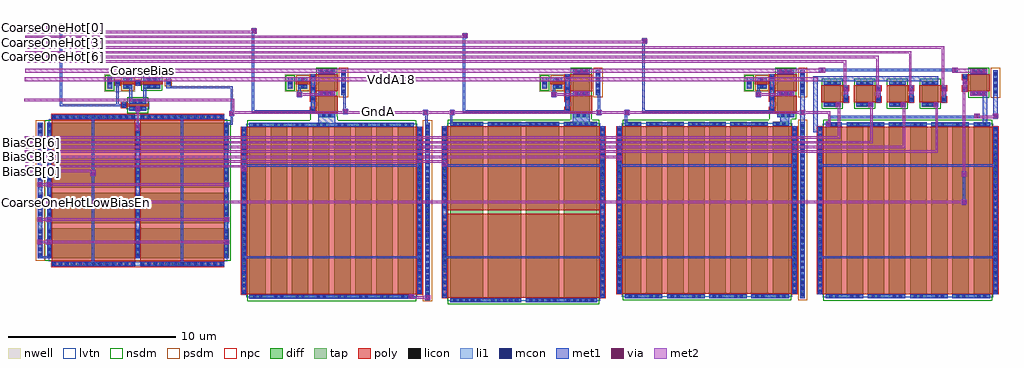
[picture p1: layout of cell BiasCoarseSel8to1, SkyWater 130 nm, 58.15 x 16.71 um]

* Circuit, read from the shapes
.subckt BiasCoarseSel8to1 BiasCB[0] BiasCB[1] BiasCB[2] BiasCB[3] BiasCB[4] BiasCB[5] BiasCB[6] BiasCB[7] CoarseBias CoarseOneHotLowBiasEn CoarseOneHot[0] CoarseOneHot[1] CoarseOneHot[2] CoarseOneHot[3] CoarseOneHot[4] CoarseOneHot[5] CoarseOneHot[6] CoarseOneHot[7] GndA VddA18
XM1 n1 BiasCB[0] GndA GndA sky130_fd_pr__nfet_01v8_lvt w=1.8 l=5 m=8
XM2 n2 CoarseOneHot[0] n1 GndA sky130_fd_pr__nfet_01v8_lvt w=1 l=0.15
XM3 CoarseBias CoarseOneHot[0] n2 GndA sky130_fd_pr__nfet_01v8 w=1 l=0.15
XM4 n3 BiasCB[1] GndA GndA sky130_fd_pr__nfet_01v8_lvt w=0.98 l=9.98 m=8
XM5 n4 CoarseOneHot[1] n3 GndA sky130_fd_pr__nfet_01v8 w=1 l=1
XM6 CoarseBias CoarseOneHot[1] n4 GndA sky130_fd_pr__nfet_01v8 w=1 l=1
XM7 n5 BiasCB[2] n6 GndA sky130_fd_pr__nfet_01v8_lvt w=1.98 l=5
XM8 GndA BiasCB[2] n5 GndA sky130_fd_pr__nfet_01v8_lvt w=1.98 l=5
XM9 n7 BiasCB[2] n6 GndA sky130_fd_pr__nfet_01v8_lvt w=1.98 l=5
XM10 n8 BiasCB[2] n7 GndA sky130_fd_pr__nfet_01v8_lvt w=1.98 l=5
XM11 n9 BiasCB[2] n10 GndA sky130_fd_pr__nfet_01v8_lvt w=1.98 l=5
XM12 n8 BiasCB[2] n9 GndA sky130_fd_pr__nfet_01v8_lvt w=1.98 l=5
XM13 n11 BiasCB[2] n10 GndA sky130_fd_pr__nfet_01v8_lvt w=1.98 l=5
XM14 n12 BiasCB[2] n11 GndA sky130_fd_pr__nfet_01v8_lvt w=1.98 l=5
XM15 n13 CoarseOneHot[2] n12 GndA sky130_fd_pr__nfet_01v8 w=1 l=1
XM16 CoarseBias CoarseOneHot[2] n13 GndA sky130_fd_pr__nfet_01v8 w=1 l=1
XM17 GndA BiasCB[3] n14 GndA sky130_fd_pr__nfet_01v8_lvt w=0.98 l=9.98
XM18 n15 BiasCB[3] n14 GndA sky130_fd_pr__nfet_01v8_lvt w=0.98 l=9.98
XM19 n15 BiasCB[3] n16 GndA sky130_fd_pr__nfet_01v8_lvt w=0.98 l=9.98
XM20 n17 BiasCB[3] n16 GndA sky130_fd_pr__nfet_01v8_lvt w=0.98 l=9.98
XM21 n17 BiasCB[3] n18 GndA sky130_fd_pr__nfet_01v8_lvt w=0.98 l=9.98
XM22 n19 BiasCB[3] n18 GndA sky130_fd_pr__nfet_01v8_lvt w=0.98 l=9.98
XM23 n19 BiasCB[3] n20 GndA sky130_fd_pr__nfet_01v8_lvt w=0.98 l=9.98
XM24 n21 BiasCB[3] n20 GndA sky130_fd_pr__nfet_01v8_lvt w=0.98 l=9.98
XM25 n22 CoarseOneHot[3] n21 GndA sky130_fd_pr__nfet_01v8 w=1 l=1
XM26 CoarseBias CoarseOneHot[3] n22 GndA sky130_fd_pr__nfet_01v8 w=1 l=1
XM27 n23 CoarseOneHot[7] BiasCB[7] GndA sky130_fd_pr__nfet_01v8 w=1 l=1
XM28 GndA n23 n24 GndA sky130_fd_pr__nfet_01v8_lvt w=0.98 l=9.98
XM29 n25 n23 n24 GndA sky130_fd_pr__nfet_01v8_lvt w=0.98 l=9.98
XM30 n23 CoarseOneHot[6] BiasCB[6] GndA sky130_fd_pr__nfet_01v8 w=1 l=1
XM31 n25 n23 n26 GndA sky130_fd_pr__nfet_01v8_lvt w=0.98 l=9.98
XM32 n27 n23 n26 GndA sky130_fd_pr__nfet_01v8_lvt w=0.98 l=9.98
XM33 n23 CoarseOneHot[5] BiasCB[5] GndA sky130_fd_pr__nfet_01v8 w=1 l=1
XM34 n27 n23 n28 GndA sky130_fd_pr__nfet_01v8_lvt w=0.98 l=9.98
XM35 n23 CoarseOneHot[4] BiasCB[4] GndA sky130_fd_pr__nfet_01v8 w=1 l=1
XM36 n29 n23 n28 GndA sky130_fd_pr__nfet_01v8_lvt w=0.98 l=9.98
XM37 n29 n23 n30 GndA sky130_fd_pr__nfet_01v8_lvt w=0.98 l=9.98
XM38 CoarseBias CoarseOneHotLowBiasEn n31 GndA sky130_fd_pr__nfet_01v8 w=1 l=1
XM39 n31 n23 n30 GndA sky130_fd_pr__nfet_01v8_lvt w=0.98 l=9.98
XM40 VddA18 CoarseOneHot[0] n2 VddA18 sky130_fd_pr__pfet_01v8 w=0.55 l=0.15
XM41 VddA18 CoarseOneHot[1] n4 VddA18 sky130_fd_pr__pfet_01v8 w=0.55 l=0.15
XM42 VddA18 CoarseOneHot[2] n13 VddA18 sky130_fd_pr__pfet_01v8 w=0.55 l=0.15
XM43 VddA18 CoarseOneHot[3] n22 VddA18 sky130_fd_pr__pfet_01v8 w=0.55 l=0.15
.ends

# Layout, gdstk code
import gdstk
lib = gdstk.Library(unit=1e-6, precision=1e-09)
def R(c, l, rs):  # rectangles x0, y0, x1, y1
    for r in rs: c.add(gdstk.rectangle(r[:2], r[2:], *l))
def A(c, l, x, y, w, h, nx, ny, dx, dy):  # array of equal rectangles
    R(c, l, [(x+i*dx, y+j*dy, x+i*dx+w, y+j*dy+h) for i in range(nx) for j in range(ny)])
nwell = (64, 20)
diff = (65, 20)
tap = (65, 44)
poly = (66, 20)
licon = (66, 44)
li1 = (67, 20)
mcon = (67, 44)
met1 = (68, 20)
via = (68, 44)
met2 = (69, 20)
nsdm = (93, 44)
psdm = (94, 20)
npc = (95, 20)
lvtn = (125, 44)

biascoarsesel8to1 = lib.new_cell('BiasCoarseSel8to1')
R(biascoarsesel8to1, nwell, [(4.005,12.02,5.855,13.06), (14.75,12.02,16.29,13.06), (29.915,12.02,31.455,13.06), (42.1,12.02,43.64,13.06)])
A(biascoarsesel8to1, diff, 24.605, -0.525, 1.98, 10.74, 4, 1, 2.26, 0)
A(biascoarsesel8to1, diff, 12.655, -0.33, 0.98, 10.51, 8, 1, 1.26, 0)
A(biascoarsesel8to1, diff, 46.975, -0.305, 0.98, 10.51, 8, 1, 1.26, 0)
A(biascoarsesel8to1, diff, 35.02, -0.295, 0.98, 10.51, 4, 1, 1.26, 0)
A(biascoarsesel8to1, diff, 40.04, -0.295, 0.98, 10.51, 4, 1, 1.26, 0)
A(biascoarsesel8to1, diff, 0.595, 2.08, 10.81, 1.8, 1, 4, 0, 2.1)
A(biascoarsesel8to1, diff, 46.87, 11.125, 1, 1.53, 4, 1, 1.945, 0)
R(biascoarsesel8to1, diff, [(16.76,10.495,17.76,13.305), (31.925,10.495,32.925,13.305), (44.11,10.495,45.11,13.305), (5.5,10.87,6.5,11.55), (55.605,11.775,56.605,13.305), (5.125,12.2,5.675,12.88), (6.325,12.2,7.325,12.88), (15.56,12.2,16.11,12.88), (30.725,12.2,31.275,12.88), (42.91,12.2,43.46,12.88)])
A(biascoarsesel8to1, tap, 0.035, 2.08, 0.29, 1.8, 1, 4, 0, 2.1)
R(biascoarsesel8to1, tap, [(23.115,-0.33,23.405,10.18), (45.46,-0.295,45.75,10.215), (56.955,11.775,57.245,13.305), (18.11,11.815,18.4,13.305), (33.275,11.815,33.565,13.305), (45.46,11.815,45.75,13.305), (4.185,12.2,4.475,12.88), (14.93,12.2,15.22,12.88), (30.095,12.2,30.385,12.88), (42.28,12.2,42.57,12.88), (7.735,12.455,7.905,12.625)])
A(biascoarsesel8to1, poly, 46.72, 11.39, 1.61, 1, 4, 1, 1.945, 0)
R(biascoarsesel8to1, poly, [(24.145,-0.26,33.825,4.74), (12.195,-0.065,22.915,9.915), (46.515,-0.04,57.235,9.94), (34.56,-0.03,45.26,9.95), (0.86,1.62,5.86,10.64), (6.14,1.62,11.14,10.64), (24.145,4.95,33.825,9.95), (16.3,10.76,17.91,11.76), (31.465,10.76,33.075,11.76), (43.65,10.76,45.26,11.76), (5.04,11.045,5.31,11.135), (5.04,11.135,6.65,11.285), (5.04,11.285,5.31,11.375), (16.3,12.04,17.91,12.465), (31.465,12.04,33.075,12.465), (43.65,12.04,45.26,12.465), (55.145,12.04,56.755,13.04), (4.665,12.375,4.935,12.465), (5.865,12.375,6.135,12.465), (4.665,12.465,7.475,12.615), (15.41,12.465,17.91,12.615), (30.575,12.465,33.075,12.615), (42.76,12.465,45.26,12.615), (4.665,12.615,4.935,12.705), (5.865,12.615,6.135,12.705), (16.3,12.615,17.91,13.04), (31.465,12.615,33.075,13.04), (43.65,12.615,45.26,13.04)])
A(biascoarsesel8to1, licon, 24.83, -0.485, 0.17, 0.17, 5, 2, 0.34, 10.49)
A(biascoarsesel8to1, licon, 27.09, -0.485, 0.17, 0.17, 5, 2, 0.34, 10.49)
A(biascoarsesel8to1, licon, 29.35, -0.485, 0.17, 0.17, 5, 2, 0.34, 10.49)
A(biascoarsesel8to1, licon, 31.61, -0.485, 0.17, 0.17, 5, 2, 0.34, 10.49)
A(biascoarsesel8to1, licon, 24.195, -0.18, 0.17, 0.17, 1, 3, 0, 0.355)
A(biascoarsesel8to1, licon, 33.605, -0.18, 0.17, 0.17, 1, 12, 0, 0.36)
A(biascoarsesel8to1, licon, 23.175, -0.09, 0.17, 0.17, 1, 30, 0, 0.34)
A(biascoarsesel8to1, licon, 45.52, -0.055, 0.17, 0.17, 1, 30, 0, 0.34)
A(biascoarsesel8to1, licon, 12.245, 0.015, 0.17, 0.17, 1, 27, 0, 0.345)
A(biascoarsesel8to1, licon, 22.695, 0.015, 0.17, 0.17, 1, 27, 0, 0.345)
A(biascoarsesel8to1, licon, 46.565, 0.04, 0.17, 0.17, 1, 3, 0, 0.34)
A(biascoarsesel8to1, licon, 57.015, 0.04, 0.17, 0.17, 1, 27, 0, 0.345)
A(biascoarsesel8to1, licon, 34.61, 0.05, 0.17, 0.17, 1, 3, 0, 0.34)
A(biascoarsesel8to1, licon, 45.04, 0.05, 0.17, 0.17, 1, 27, 0, 0.345)
A(biascoarsesel8to1, licon, 24.195, 0.89, 0.17, 0.17, 1, 11, 0, 0.36)
A(biascoarsesel8to1, licon, 46.565, 1.065, 0.17, 0.17, 1, 26, 0, 0.345)
A(biascoarsesel8to1, licon, 34.61, 1.075, 0.17, 0.17, 1, 26, 0, 0.345)
A(biascoarsesel8to1, licon, 0.94, 1.67, 0.17, 0.17, 12, 2, 0.36, 8.75)
A(biascoarsesel8to1, licon, 6.22, 1.67, 0.17, 0.17, 3, 2, 0.355, 8.75)
A(biascoarsesel8to1, licon, 7.29, 1.67, 0.17, 0.17, 11, 2, 0.36, 8.75)
A(biascoarsesel8to1, licon, 0.095, 2.215, 0.17, 0.17, 1, 5, 0, 0.34)
A(biascoarsesel8to1, licon, 0.635, 2.215, 0.17, 0.17, 3, 5, 5.28, 0.34)
A(biascoarsesel8to1, licon, 0.095, 4.315, 0.17, 0.17, 1, 5, 0, 0.34)
A(biascoarsesel8to1, licon, 0.635, 4.315, 0.17, 0.17, 3, 5, 5.28, 0.34)
A(biascoarsesel8to1, licon, 24.195, 5.03, 0.17, 0.17, 1, 3, 0, 0.355)
A(biascoarsesel8to1, licon, 33.605, 5.03, 0.17, 0.17, 1, 12, 0, 0.36)
A(biascoarsesel8to1, licon, 24.195, 6.1, 0.17, 0.17, 1, 11, 0, 0.36)
A(biascoarsesel8to1, licon, 0.095, 6.415, 0.17, 0.17, 1, 5, 0, 0.34)
A(biascoarsesel8to1, licon, 0.635, 6.415, 0.17, 0.17, 3, 5, 5.28, 0.34)
A(biascoarsesel8to1, licon, 0.095, 8.515, 0.17, 0.17, 1, 5, 0, 0.34)
A(biascoarsesel8to1, licon, 0.635, 8.515, 0.17, 0.17, 3, 5, 5.28, 0.34)
A(biascoarsesel8to1, licon, 17.005, 10.535, 0.17, 0.17, 1, 3, 0, 1.28)
A(biascoarsesel8to1, licon, 17.345, 10.535, 0.17, 0.17, 1, 3, 0, 1.28)
A(biascoarsesel8to1, licon, 32.17, 10.535, 0.17, 0.17, 1, 3, 0, 1.28)
A(biascoarsesel8to1, licon, 32.51, 10.535, 0.17, 0.17, 1, 3, 0, 1.28)
A(biascoarsesel8to1, licon, 44.355, 10.535, 0.17, 0.17, 1, 3, 0, 1.28)
A(biascoarsesel8to1, licon, 44.695, 10.535, 0.17, 0.17, 1, 3, 0, 1.28)
A(biascoarsesel8to1, licon, 48.11, 11.47, 0.17, 0.17, 4, 2, 1.945, 0.67)
A(biascoarsesel8to1, licon, 57.015, 11.945, 0.17, 0.17, 1, 4, 0, 0.34)
A(biascoarsesel8to1, licon, 18.17, 11.965, 0.17, 0.17, 1, 4, 0, 0.34)
A(biascoarsesel8to1, licon, 33.335, 11.965, 0.17, 0.17, 1, 4, 0, 0.34)
A(biascoarsesel8to1, licon, 45.52, 11.965, 0.17, 0.17, 1, 4, 0, 0.34)
R(biascoarsesel8to1, licon, [(12.89,-0.29,13.06,-0.12), (13.23,-0.29,13.4,-0.12), (14.15,-0.29,14.32,-0.12), (14.49,-0.29,14.66,-0.12), (15.41,-0.29,15.58,-0.12), (15.75,-0.29,15.92,-0.12), (16.67,-0.29,16.84,-0.12), (17.01,-0.29,17.18,-0.12), (17.93,-0.29,18.1,-0.12), (18.27,-0.29,18.44,-0.12), (19.19,-0.29,19.36,-0.12), (19.53,-0.29,19.7,-0.12), (20.45,-0.29,20.62,-0.12), (20.79,-0.29,20.96,-0.12), (21.71,-0.29,21.88,-0.12), (22.05,-0.29,22.22,-0.12), (47.21,-0.265,47.38,-0.095), (47.55,-0.265,47.72,-0.095), (48.47,-0.265,48.64,-0.095), (48.81,-0.265,48.98,-0.095), (49.73,-0.265,49.9,-0.095), (50.07,-0.265,50.24,-0.095), (50.99,-0.265,51.16,-0.095), (51.33,-0.265,51.5,-0.095), (52.25,-0.265,52.42,-0.095), (52.59,-0.265,52.76,-0.095), (53.51,-0.265,53.68,-0.095), (53.85,-0.265,54.02,-0.095), (54.77,-0.265,54.94,-0.095), (55.11,-0.265,55.28,-0.095), (56.03,-0.265,56.2,-0.095), (56.37,-0.265,56.54,-0.095), (35.255,-0.255,35.425,-0.085), (35.595,-0.255,35.765,-0.085), (36.515,-0.255,36.685,-0.085), (36.855,-0.255,37.025,-0.085), (37.775,-0.255,37.945,-0.085), (38.115,-0.255,38.285,-0.085), (39.035,-0.255,39.205,-0.085), (39.375,-0.255,39.545,-0.085), (40.275,-0.255,40.445,-0.085), (40.615,-0.255,40.785,-0.085), (41.535,-0.255,41.705,-0.085), (41.875,-0.255,42.045,-0.085), (42.795,-0.255,42.965,-0.085), (43.135,-0.255,43.305,-0.085), (44.055,-0.255,44.225,-0.085), (44.395,-0.255,44.565,-0.085), (5.255,1.67,5.425,1.84), (5.61,1.67,5.78,1.84), (33.605,4.135,33.775,4.305), (33.605,4.49,33.775,4.66), (12.245,9.325,12.415,9.495), (22.695,9.325,22.865,9.495), (33.605,9.345,33.775,9.515), (57.015,9.35,57.185,9.52), (45.04,9.36,45.21,9.53), (12.245,9.665,12.415,9.835), (22.695,9.665,22.865,9.835), (57.015,9.69,57.185,9.86), (33.605,9.7,33.775,9.87), (45.04,9.7,45.21,9.87), (12.89,9.97,13.06,10.14), (13.23,9.97,13.4,10.14), (14.15,9.97,14.32,10.14), (14.49,9.97,14.66,10.14), (15.41,9.97,15.58,10.14), (15.75,9.97,15.92,10.14), (16.67,9.97,16.84,10.14), (17.01,9.97,17.18,10.14), (17.93,9.97,18.1,10.14), (18.27,9.97,18.44,10.14), (19.19,9.97,19.36,10.14), (19.53,9.97,19.7,10.14), (20.45,9.97,20.62,10.14), (20.79,9.97,20.96,10.14), (21.71,9.97,21.88,10.14), (22.05,9.97,22.22,10.14), (47.21,9.995,47.38,10.165), (47.55,9.995,47.72,10.165), (48.47,9.995,48.64,10.165), (48.81,9.995,48.98,10.165), (49.73,9.995,49.9,10.165), (50.07,9.995,50.24,10.165), (50.99,9.995,51.16,10.165), (51.33,9.995,51.5,10.165), (52.25,9.995,52.42,10.165), (52.59,9.995,52.76,10.165), (53.51,9.995,53.68,10.165), (53.85,9.995,54.02,10.165), (54.77,9.995,54.94,10.165), (55.11,9.995,55.28,10.165), (56.03,9.995,56.2,10.165), (56.37,9.995,56.54,10.165), (35.255,10.005,35.425,10.175), (35.595,10.005,35.765,10.175), (36.515,10.005,36.685,10.175), (36.855,10.005,37.025,10.175), (37.775,10.005,37.945,10.175), (38.115,10.005,38.285,10.175), (39.035,10.005,39.205,10.175), (39.375,10.005,39.545,10.175), (40.275,10.005,40.445,10.175), (40.615,10.005,40.785,10.175), (41.535,10.005,41.705,10.175), (41.875,10.005,42.045,10.175), (42.795,10.005,42.965,10.175), (43.135,10.005,43.305,10.175), (44.055,10.005,44.225,10.175), (44.395,10.005,44.565,10.175), (5.255,10.42,5.425,10.59), (5.61,10.42,5.78,10.59), (16.35,10.84,16.52,11.01), (31.515,10.84,31.685,11.01), (43.7,10.84,43.87,11.01), (5.745,10.91,5.915,11.08), (6.085,10.91,6.255,11.08), (5.09,11.125,5.26,11.295), (47.115,11.165,47.285,11.335), (47.455,11.165,47.625,11.335), (49.06,11.165,49.23,11.335), (49.4,11.165,49.57,11.335), (51.005,11.165,51.175,11.335), (51.345,11.165,51.515,11.335), (52.95,11.165,53.12,11.335), (53.29,11.165,53.46,11.335), (5.745,11.34,5.915,11.51), (6.085,11.34,6.255,11.51), (16.35,11.51,16.52,11.68), (31.515,11.51,31.685,11.68), (43.7,11.51,43.87,11.68), (55.85,11.815,56.02,11.985), (56.19,11.815,56.36,11.985), (16.35,12.12,16.52,12.29), (31.515,12.12,31.685,12.29), (43.7,12.12,43.87,12.29), (55.195,12.12,55.365,12.29), (5.315,12.24,5.485,12.41), (6.57,12.24,6.74,12.41), (6.91,12.24,7.08,12.41), (15.75,12.24,15.92,12.41), (30.915,12.24,31.085,12.41), (43.1,12.24,43.27,12.41), (47.115,12.445,47.285,12.615), (47.455,12.445,47.625,12.615), (49.06,12.445,49.23,12.615), (49.4,12.445,49.57,12.615), (51.005,12.445,51.175,12.615), (51.345,12.445,51.515,12.615), (52.95,12.445,53.12,12.615), (53.29,12.445,53.46,12.615), (4.245,12.455,4.415,12.625), (4.715,12.455,4.885,12.625), (5.915,12.455,6.085,12.625), (7.735,12.455,7.905,12.625), (14.99,12.455,15.16,12.625), (30.155,12.455,30.325,12.625), (42.34,12.455,42.51,12.625), (5.315,12.67,5.485,12.84), (6.57,12.67,6.74,12.84), (6.91,12.67,7.08,12.84), (15.75,12.67,15.92,12.84), (30.915,12.67,31.085,12.84), (43.1,12.67,43.27,12.84), (16.35,12.79,16.52,12.96), (31.515,12.79,31.685,12.96), (43.7,12.79,43.87,12.96), (55.195,12.79,55.365,12.96), (55.85,13.095,56.02,13.265), (56.19,13.095,56.36,13.265)])
A(biascoarsesel8to1, li1, 46.975, -0.265, 2.24, 0.17, 4, 1, 2.52, 0)
A(biascoarsesel8to1, li1, 5.915, 2.08, 0.17, 1.8, 1, 4, 0, 2.1)
A(biascoarsesel8to1, li1, 48.235, 9.995, 2.24, 0.17, 3, 1, 2.52, 0)
A(biascoarsesel8to1, li1, 16.76, 10.535, 1, 0.17, 1, 3, 0, 1.28)
A(biascoarsesel8to1, li1, 44.11, 10.535, 1, 0.17, 1, 3, 0, 1.28)
A(biascoarsesel8to1, li1, 46.87, 11.165, 1, 0.17, 4, 2, 1.945, 1.28)
A(biascoarsesel8to1, li1, 48.08, 11.39, 0.23, 1, 4, 1, 1.945, 0)
R(biascoarsesel8to1, li1, [(24.605,-0.485,28.845,-0.315), (29.125,-0.485,33.365,-0.315), (23.125,-0.32,23.395,10.17), (12.655,-0.29,22.455,-0.12), (45.47,-0.285,45.74,10.205), (24.165,-0.26,24.395,9.95), (33.575,-0.26,33.805,9.95), (35.02,-0.255,37.26,-0.085), (37.54,-0.255,39.78,-0.085), (40.04,-0.255,42.28,-0.085), (42.56,-0.255,44.8,-0.085), (12.215,-0.065,12.445,9.915), (22.665,-0.065,22.895,9.915), (46.535,-0.04,46.765,9.94), (56.985,-0.04,57.215,9.94), (34.58,-0.03,34.81,9.95), (45.01,-0.03,45.24,9.95), (0.86,1.64,11.14,1.87), (0.045,2.08,0.315,10.18), (0.635,2.08,0.805,10.18), (11.195,2.08,11.365,10.18), (12.655,9.97,22.455,10.14), (46.975,9.995,47.955,10.165), (55.795,9.995,56.775,10.165), (24.605,10.005,26.585,10.175), (26.865,10.005,31.105,10.175), (31.385,10.005,33.365,10.175), (35.02,10.005,36,10.175), (36.28,10.005,38.52,10.175), (38.8,10.005,41.02,10.175), (41.3,10.005,43.54,10.175), (43.82,10.005,44.8,10.175), (31.925,10.175,32.925,10.705), (44.275,10.175,44.8,10.535), (0.86,10.39,11.14,10.62), (16.32,10.76,16.55,13.04), (31.485,10.76,31.715,13.04), (43.67,10.76,43.9,13.04), (5.5,10.91,6.5,11.08), (5.06,11.045,5.29,11.375), (5.5,11.34,6.5,11.51), (56.965,11.785,57.235,13.295), (31.925,11.815,32.925,11.985), (55.605,11.815,56.605,11.985), (18.12,11.825,18.39,13.295), (33.285,11.825,33.555,13.295), (45.47,11.825,45.74,13.295), (55.165,12.04,55.395,13.04), (4.195,12.21,4.465,12.87), (7.685,12.21,7.955,12.87), (14.94,12.21,15.21,12.87), (30.105,12.21,30.375,12.87), (42.29,12.21,42.56,12.87), (5.125,12.24,5.675,12.41), (6.325,12.24,7.325,12.41), (15.56,12.24,16.11,12.41), (30.725,12.24,31.275,12.41), (42.91,12.24,43.46,12.41), (4.685,12.375,4.915,12.705), (5.885,12.375,6.115,12.705), (5.125,12.67,5.675,12.84), (6.325,12.67,7.325,12.84), (15.56,12.67,16.11,12.84), (30.725,12.67,31.275,12.84), (42.91,12.67,43.46,12.84), (31.925,13.095,32.925,13.265), (55.605,13.095,56.605,13.265)])
A(biascoarsesel8to1, mcon, 24.79, -0.485, 0.17, 0.17, 5, 2, 0.36, 10.49)
A(biascoarsesel8to1, mcon, 27.05, -0.485, 0.17, 0.17, 5, 2, 0.36, 10.49)
A(biascoarsesel8to1, mcon, 29.31, -0.485, 0.17, 0.17, 5, 2, 0.36, 10.49)
A(biascoarsesel8to1, mcon, 31.57, -0.485, 0.17, 0.17, 5, 2, 0.36, 10.49)
A(biascoarsesel8to1, mcon, 23.175, -0.2, 0.17, 0.17, 1, 29, 0, 0.36)
A(biascoarsesel8to1, mcon, 24.195, -0.18, 0.17, 0.17, 1, 3, 0, 0.385)
A(biascoarsesel8to1, mcon, 33.605, -0.18, 0.17, 0.17, 1, 11, 0, 0.39)
A(biascoarsesel8to1, mcon, 45.52, -0.165, 0.17, 0.17, 1, 29, 0, 0.36)
A(biascoarsesel8to1, mcon, 12.245, 0.015, 0.17, 0.17, 1, 7, 0, 0.375)
A(biascoarsesel8to1, mcon, 22.695, 0.015, 0.17, 0.17, 1, 7, 0, 0.375)
A(biascoarsesel8to1, mcon, 46.565, 0.04, 0.17, 0.17, 1, 21, 0, 0.37)
A(biascoarsesel8to1, mcon, 57.015, 0.04, 0.17, 0.17, 1, 7, 0, 0.375)
A(biascoarsesel8to1, mcon, 34.61, 0.05, 0.17, 0.17, 1, 21, 0, 0.37)
A(biascoarsesel8to1, mcon, 45.04, 0.05, 0.17, 0.17, 1, 7, 0, 0.375)
A(biascoarsesel8to1, mcon, 24.195, 0.98, 0.17, 0.17, 1, 10, 0, 0.39)
A(biascoarsesel8to1, mcon, 0.94, 1.67, 0.17, 0.17, 11, 2, 0.39, 8.75)
A(biascoarsesel8to1, mcon, 6.22, 1.67, 0.17, 0.17, 3, 2, 0.385, 8.75)
A(biascoarsesel8to1, mcon, 7.38, 1.67, 0.17, 0.17, 10, 2, 0.39, 8.75)
A(biascoarsesel8to1, mcon, 0.095, 2.175, 0.17, 0.17, 1, 5, 0, 0.36)
A(biascoarsesel8to1, mcon, 0.635, 2.175, 0.17, 0.17, 3, 5, 5.28, 0.36)
A(biascoarsesel8to1, mcon, 12.245, 2.635, 0.17, 0.17, 1, 20, 0, 0.37)
A(biascoarsesel8to1, mcon, 22.695, 2.635, 0.17, 0.17, 1, 20, 0, 0.37)
A(biascoarsesel8to1, mcon, 57.015, 2.66, 0.17, 0.17, 1, 20, 0, 0.37)
A(biascoarsesel8to1, mcon, 45.04, 2.67, 0.17, 0.17, 1, 20, 0, 0.37)
A(biascoarsesel8to1, mcon, 0.095, 4.275, 0.17, 0.17, 1, 5, 0, 0.36)
A(biascoarsesel8to1, mcon, 0.635, 4.275, 0.17, 0.17, 3, 5, 5.28, 0.36)
A(biascoarsesel8to1, mcon, 24.195, 5.03, 0.17, 0.17, 1, 3, 0, 0.385)
A(biascoarsesel8to1, mcon, 33.605, 5.03, 0.17, 0.17, 1, 11, 0, 0.39)
A(biascoarsesel8to1, mcon, 24.195, 6.19, 0.17, 0.17, 1, 10, 0, 0.39)
A(biascoarsesel8to1, mcon, 0.095, 6.375, 0.17, 0.17, 1, 5, 0, 0.36)
A(biascoarsesel8to1, mcon, 0.635, 6.375, 0.17, 0.17, 3, 5, 5.28, 0.36)
A(biascoarsesel8to1, mcon, 46.565, 7.815, 0.17, 0.17, 1, 6, 0, 0.375)
A(biascoarsesel8to1, mcon, 34.61, 7.825, 0.17, 0.17, 1, 6, 0, 0.375)
A(biascoarsesel8to1, mcon, 0.095, 8.475, 0.17, 0.17, 1, 5, 0, 0.36)
A(biascoarsesel8to1, mcon, 0.635, 8.475, 0.17, 0.17, 3, 5, 5.28, 0.36)
A(biascoarsesel8to1, mcon, 16.995, 10.535, 0.17, 0.17, 1, 3, 0, 1.28)
A(biascoarsesel8to1, mcon, 17.355, 10.535, 0.17, 0.17, 1, 3, 0, 1.28)
A(biascoarsesel8to1, mcon, 32.16, 10.535, 0.17, 0.17, 1, 3, 0, 1.28)
A(biascoarsesel8to1, mcon, 32.52, 10.535, 0.17, 0.17, 1, 3, 0, 1.28)
A(biascoarsesel8to1, mcon, 44.345, 10.535, 0.17, 0.17, 1, 3, 0, 1.28)
A(biascoarsesel8to1, mcon, 44.705, 10.535, 0.17, 0.17, 1, 3, 0, 1.28)
A(biascoarsesel8to1, mcon, 48.11, 11.47, 0.17, 0.17, 4, 2, 1.945, 0.67)
A(biascoarsesel8to1, mcon, 57.015, 11.915, 0.17, 0.17, 1, 4, 0, 0.36)
A(biascoarsesel8to1, mcon, 18.17, 11.935, 0.17, 0.17, 1, 4, 0, 0.36)
A(biascoarsesel8to1, mcon, 33.335, 11.935, 0.17, 0.17, 1, 4, 0, 0.36)
A(biascoarsesel8to1, mcon, 45.52, 11.935, 0.17, 0.17, 1, 4, 0, 0.36)
R(biascoarsesel8to1, mcon, [(12.88,-0.29,13.05,-0.12), (13.24,-0.29,13.41,-0.12), (14.14,-0.29,14.31,-0.12), (14.5,-0.29,14.67,-0.12), (15.4,-0.29,15.57,-0.12), (15.76,-0.29,15.93,-0.12), (16.66,-0.29,16.83,-0.12), (17.02,-0.29,17.19,-0.12), (17.92,-0.29,18.09,-0.12), (18.28,-0.29,18.45,-0.12), (19.18,-0.29,19.35,-0.12), (19.54,-0.29,19.71,-0.12), (20.44,-0.29,20.61,-0.12), (20.8,-0.29,20.97,-0.12), (21.7,-0.29,21.87,-0.12), (22.06,-0.29,22.23,-0.12), (47.2,-0.265,47.37,-0.095), (47.56,-0.265,47.73,-0.095), (48.46,-0.265,48.63,-0.095), (48.82,-0.265,48.99,-0.095), (49.72,-0.265,49.89,-0.095), (50.08,-0.265,50.25,-0.095), (50.98,-0.265,51.15,-0.095), (51.34,-0.265,51.51,-0.095), (52.24,-0.265,52.41,-0.095), (52.6,-0.265,52.77,-0.095), (53.5,-0.265,53.67,-0.095), (53.86,-0.265,54.03,-0.095), (54.76,-0.265,54.93,-0.095), (55.12,-0.265,55.29,-0.095), (56.02,-0.265,56.19,-0.095), (56.38,-0.265,56.55,-0.095), (35.245,-0.255,35.415,-0.085), (35.605,-0.255,35.775,-0.085), (36.505,-0.255,36.675,-0.085), (36.865,-0.255,37.035,-0.085), (37.765,-0.255,37.935,-0.085), (38.125,-0.255,38.295,-0.085), (39.025,-0.255,39.195,-0.085), (39.385,-0.255,39.555,-0.085), (40.265,-0.255,40.435,-0.085), (40.625,-0.255,40.795,-0.085), (41.525,-0.255,41.695,-0.085), (41.885,-0.255,42.055,-0.085), (42.785,-0.255,42.955,-0.085), (43.145,-0.255,43.315,-0.085), (44.045,-0.255,44.215,-0.085), (44.405,-0.255,44.575,-0.085), (5.225,1.67,5.395,1.84), (5.61,1.67,5.78,1.84), (33.605,4.105,33.775,4.275), (33.605,4.49,33.775,4.66), (33.605,9.315,33.775,9.485), (33.605,9.7,33.775,9.87), (12.88,9.97,13.05,10.14), (13.24,9.97,13.41,10.14), (14.14,9.97,14.31,10.14), (14.5,9.97,14.67,10.14), (15.4,9.97,15.57,10.14), (15.76,9.97,15.93,10.14), (16.66,9.97,16.83,10.14), (17.02,9.97,17.19,10.14), (17.92,9.97,18.09,10.14), (18.28,9.97,18.45,10.14), (19.18,9.97,19.35,10.14), (19.54,9.97,19.71,10.14), (20.44,9.97,20.61,10.14), (20.8,9.97,20.97,10.14), (21.7,9.97,21.87,10.14), (22.06,9.97,22.23,10.14), (47.2,9.995,47.37,10.165), (47.56,9.995,47.73,10.165), (48.46,9.995,48.63,10.165), (48.82,9.995,48.99,10.165), (49.72,9.995,49.89,10.165), (50.08,9.995,50.25,10.165), (50.98,9.995,51.15,10.165), (51.34,9.995,51.51,10.165), (52.24,9.995,52.41,10.165), (52.6,9.995,52.77,10.165), (53.5,9.995,53.67,10.165), (53.86,9.995,54.03,10.165), (54.76,9.995,54.93,10.165), (55.12,9.995,55.29,10.165), (56.02,9.995,56.19,10.165), (56.38,9.995,56.55,10.165), (35.245,10.005,35.415,10.175), (35.605,10.005,35.775,10.175), (36.505,10.005,36.675,10.175), (36.865,10.005,37.035,10.175), (37.765,10.005,37.935,10.175), (38.125,10.005,38.295,10.175), (39.025,10.005,39.195,10.175), (39.385,10.005,39.555,10.175), (40.265,10.005,40.435,10.175), (40.625,10.005,40.795,10.175), (41.525,10.005,41.695,10.175), (41.885,10.005,42.055,10.175), (42.785,10.005,42.955,10.175), (43.145,10.005,43.315,10.175), (44.045,10.005,44.215,10.175), (44.405,10.005,44.575,10.175), (5.225,10.42,5.395,10.59), (5.61,10.42,5.78,10.59), (16.35,10.84,16.52,11.01), (31.515,10.84,31.685,11.01), (43.7,10.84,43.87,11.01), (5.735,10.91,5.905,11.08), (6.095,10.91,6.265,11.08), (5.09,11.125,5.26,11.295), (47.105,11.165,47.275,11.335), (47.465,11.165,47.635,11.335), (49.05,11.165,49.22,11.335), (49.41,11.165,49.58,11.335), (50.995,11.165,51.165,11.335), (51.355,11.165,51.525,11.335), (52.94,11.165,53.11,11.335), (53.3,11.165,53.47,11.335), (5.735,11.34,5.905,11.51), (6.095,11.34,6.265,11.51), (16.35,11.51,16.52,11.68), (31.515,11.51,31.685,11.68), (43.7,11.51,43.87,11.68), (55.84,11.815,56.01,11.985), (56.2,11.815,56.37,11.985), (16.35,12.12,16.52,12.29), (31.515,12.12,31.685,12.29), (43.7,12.12,43.87,12.29), (55.195,12.12,55.365,12.29), (5.315,12.24,5.485,12.41), (6.56,12.24,6.73,12.41), (6.92,12.24,7.09,12.41), (15.75,12.24,15.92,12.41), (30.915,12.24,31.085,12.41), (43.1,12.24,43.27,12.41), (47.105,12.445,47.275,12.615), (47.465,12.445,47.635,12.615), (49.05,12.445,49.22,12.615), (49.41,12.445,49.58,12.615), (50.995,12.445,51.165,12.615), (51.355,12.445,51.525,12.615), (52.94,12.445,53.11,12.615), (53.3,12.445,53.47,12.615), (4.245,12.455,4.415,12.625), (4.715,12.455,4.885,12.625), (5.915,12.455,6.085,12.625), (7.735,12.455,7.905,12.625), (14.99,12.455,15.16,12.625), (30.155,12.455,30.325,12.625), (42.34,12.455,42.51,12.625), (5.315,12.67,5.485,12.84), (6.56,12.67,6.73,12.84), (6.92,12.67,7.09,12.84), (15.75,12.67,15.92,12.84), (30.915,12.67,31.085,12.84), (43.1,12.67,43.27,12.84), (16.35,12.79,16.52,12.96), (31.515,12.79,31.685,12.96), (43.7,12.79,43.87,12.96), (55.195,12.79,55.365,12.96), (55.84,13.095,56.01,13.265), (56.2,13.095,56.37,13.265)])
A(biascoarsesel8to1, met1, 46.975, -0.295, 2.24, 0.23, 4, 1, 2.52, 0)
A(biascoarsesel8to1, met1, 48.235, 9.965, 2.24, 0.23, 3, 1, 2.52, 0)
A(biascoarsesel8to1, met1, 47.55, 11.105, 0.32, 0.03, 4, 1, 1.945, 0)
A(biascoarsesel8to1, met1, 46.87, 11.135, 1, 0.23, 4, 2, 1.945, 1.28)
A(biascoarsesel8to1, met1, 48.06, 11.39, 0.27, 1, 4, 1, 1.945, 0)
R(biascoarsesel8to1, met1, [(24.605,-0.515,28.845,-0.285), (29.125,-0.515,33.365,-0.285), (23.125,-0.41,23.395,10.17), (12.655,-0.32,22.47,-0.09), (35.02,-0.285,37.26,-0.055), (37.54,-0.285,39.78,-0.055), (40.04,-0.285,42.28,-0.055), (42.56,-0.285,44.8,-0.055), (45.47,-0.285,45.74,13.295), (24.145,-0.26,24.415,2.085), (33.555,-0.26,33.825,2.085), (22.15,-0.09,22.47,-0.06), (12.195,-0.065,12.465,2.085), (22.645,-0.065,22.915,2.085), (46.515,-0.04,46.785,2.085), (56.965,-0.04,57.235,2.085), (34.56,-0.03,34.83,2.085), (44.99,-0.03,45.26,2.085), (0.86,1.62,5.86,1.89), (6.14,1.62,11.14,1.89), (3.27,1.89,3.41,6.975), (8.57,1.89,8.71,10.37), (0.045,2.08,0.835,2.22), (5.885,2.08,6.115,9.68), (11.165,2.08,11.395,2.905), (12.195,2.085,22.915,2.225), (24.145,2.085,33.825,2.225), (34.56,2.085,45.26,2.225), (46.515,2.085,57.235,2.225), (0.045,2.22,0.315,10.18), (0.605,2.22,0.835,2.905), (12.195,2.225,12.465,7.55), (22.645,2.225,22.915,7.55), (24.145,2.225,24.415,7.55), (33.555,2.225,33.825,7.55), (34.56,2.225,34.83,7.55), (44.99,2.225,45.26,7.55), (46.515,2.225,46.785,7.55), (56.965,2.225,57.235,7.55), (0.59,2.905,0.85,3.225), (11.15,2.905,11.41,3.225), (0.605,3.225,0.835,4.235), (11.165,3.225,11.395,4.235), (0.59,4.235,0.85,4.555), (11.15,4.235,11.41,4.555), (0.605,4.555,0.835,6.33), (11.165,4.555,11.395,6.33), (55.09,5.285,55.35,5.605), (55.15,5.605,55.29,6.95), (0.59,6.33,0.85,6.65), (11.15,6.33,11.41,6.65), (0.605,6.65,0.835,10.18), (11.165,6.65,11.395,10.04), (55.09,6.95,55.35,7.27), (3.21,6.975,3.47,7.295), (3.27,7.295,3.41,10.37), (12.195,7.55,22.915,7.69), (24.145,7.55,33.825,7.69), (34.56,7.55,45.26,7.69), (46.515,7.55,57.235,7.69), (12.195,7.69,12.465,9.915), (22.645,7.69,22.915,9.915), (24.145,7.69,24.415,9.95), (33.555,7.69,33.825,9.95), (34.56,7.69,34.83,9.95), (44.99,7.69,45.26,9.95), (46.515,7.69,46.785,9.6), (56.965,7.69,57.235,9.94), (46.245,9.6,46.785,9.94), (5.87,9.68,6.13,10.18), (12.655,9.94,22.455,10.17), (46.245,9.94,46.515,12.645), (46.975,9.965,47.955,10.195), (55.795,9.965,56.775,10.195), (24.605,9.975,26.585,10.205), (26.865,9.975,31.105,10.205), (31.385,9.975,33.365,10.205), (35.02,9.975,36,10.205), (36.28,9.975,38.52,10.205), (38.8,9.975,41.02,10.205), (41.3,9.975,43.54,10.205), (43.82,9.975,44.8,10.205), (11.165,10.04,11.665,10.18), (16.76,10.17,17.76,10.735), (23.125,10.17,23.265,10.62), (11.525,10.18,11.665,10.56), (46.975,10.195,47.295,10.225), (56.355,10.195,56.605,11.785), (24.605,10.205,24.745,10.62), (31.925,10.205,32.925,10.735), (35.02,10.205,35.16,10.62), (44.275,10.205,44.8,10.505), (47.125,10.225,47.265,10.435), (0.86,10.37,5.86,10.64), (6.14,10.37,11.14,10.64), (56.965,10.405,57.235,13.295), (47.125,10.435,56.17,10.575), (44.11,10.505,45.11,10.735), (11.465,10.56,11.725,10.88), (55.85,10.575,56.17,10.695), (23.005,10.62,23.265,10.94), (24.605,10.62,24.865,10.94), (33.355,10.62,33.615,10.94), (35.02,10.62,35.28,10.94), (18.25,10.68,18.51,11), (12.79,10.76,16.57,10.9), (25.37,10.76,31.735,10.9), (36.055,10.76,43.92,10.9), (5.84,10.865,6.16,10.88), (5.5,10.88,6.5,11.11), (11.525,10.88,11.665,12.21), (12.79,10.9,12.93,15.465), (16.3,10.9,16.57,13.04), (25.37,10.9,25.51,15.185), (31.465,10.9,31.735,13.04), (36.055,10.9,36.195,14.875), (43.65,10.9,43.92,13.04), (33.415,10.94,33.555,11.825), (18.25,11,18.39,11.825), (5.04,11.045,5.31,11.14), (5.84,11.11,6.16,11.125), (1.345,11.14,5.31,11.28), (1.345,11.28,1.485,15.745), (4.73,11.28,4.87,12.375), (5.04,11.28,5.31,11.375), (5.5,11.31,6.5,11.54), (5.5,11.54,5.675,12.21), (6.325,11.54,6.5,12.21), (15.5,11.695,15.76,12.015), (30.665,11.695,30.925,12.015), (42.85,11.695,43.11,12.015), (16.76,11.785,17.76,12.045), (31.925,11.785,32.925,12.045), (44.11,11.785,45.11,12.045), (55.605,11.785,56.605,12.045), (18.12,11.825,18.39,13.295), (33.285,11.825,33.555,13.295), (15.56,12.015,15.7,12.21), (30.725,12.015,30.865,12.21), (42.91,12.015,43.05,12.21), (55.145,12.04,55.415,13.04), (4.195,12.21,4.465,12.9), (5.125,12.21,5.675,12.44), (6.325,12.21,7.325,12.44), (7.685,12.21,11.665,12.35), (14.94,12.21,15.21,12.625), (15.56,12.21,16.11,12.44), (30.105,12.21,30.375,12.625), (30.725,12.21,31.275,12.44), (42.29,12.21,42.56,12.625), (42.91,12.21,43.46,12.44), (7.685,12.35,7.955,12.87), (4.665,12.375,4.935,12.705), (5.865,12.375,6.135,12.705), (5.125,12.625,5.675,12.885), (14.94,12.625,16.11,12.87), (30.105,12.625,31.275,12.87), (42.29,12.625,43.46,12.87), (6.325,12.64,7.325,13.4), (46.245,12.645,53.705,12.945), (15.21,12.87,16.11,12.885), (30.375,12.87,31.275,12.885), (42.56,12.87,43.46,12.885), (16.76,13.065,17.76,13.385), (31.925,13.065,32.925,13.385), (44.11,13.065,45.11,13.385), (55.605,13.065,56.605,13.385), (46.585,13.175,46.945,13.225), (54.525,13.175,54.855,13.225), (46.585,13.225,54.855,13.385), (46.585,13.385,46.945,13.435), (54.525,13.385,54.855,13.435), (36.055,14.875,36.315,15.195), (25.37,15.185,25.63,15.505), (12.79,15.465,13.05,15.785), (1.345,15.745,1.605,16.065)])
A(biascoarsesel8to1, via, 47.635, 11.16, 0.15, 0.15, 4, 1, 1.945, 0)
A(biascoarsesel8to1, via, 16.865, 11.84, 0.15, 0.15, 3, 2, 0.32, 1.34)
A(biascoarsesel8to1, via, 32.03, 11.84, 0.15, 0.15, 3, 2, 0.32, 1.34)
A(biascoarsesel8to1, via, 44.215, 11.84, 0.15, 0.15, 3, 2, 0.32, 1.34)
A(biascoarsesel8to1, via, 55.71, 11.84, 0.15, 0.15, 3, 2, 0.32, 1.34)
A(biascoarsesel8to1, via, 48.12, 12.045, 0.15, 0.15, 4, 1, 1.945, 0)
A(biascoarsesel8to1, via, 6.43, 13.195, 0.15, 0.15, 3, 1, 0.32, 0)
R(biascoarsesel8to1, via, [(23.185,-0.325,23.335,-0.175), (22.235,-0.265,22.385,-0.115), (0.105,2.99,0.255,3.14), (0.645,2.99,0.795,3.14), (11.205,2.99,11.355,3.14), (0.105,4.32,0.255,4.47), (0.645,4.32,0.795,4.47), (11.205,4.32,11.355,4.47), (55.145,5.37,55.295,5.52), (0.105,6.415,0.255,6.565), (0.645,6.415,0.795,6.565), (11.205,6.415,11.355,6.565), (55.145,7.035,55.295,7.185), (3.265,7.06,3.415,7.21), (12.255,7.34,12.405,7.49), (24.205,7.62,24.355,7.77), (34.62,7.995,34.77,8.145), (5.925,9.85,6.075,10), (47.06,10.02,47.21,10.17), (55.935,10.49,56.085,10.64), (57.025,10.49,57.175,10.64), (11.52,10.645,11.67,10.795), (23.06,10.705,23.21,10.855), (24.66,10.705,24.81,10.855), (33.41,10.705,33.56,10.855), (35.075,10.705,35.225,10.855), (45.53,10.705,45.68,10.855), (18.305,10.765,18.455,10.915), (5.925,10.92,6.075,11.07), (15.555,11.78,15.705,11.93), (30.72,11.78,30.87,11.93), (42.905,11.78,43.055,11.93), (55.205,12.16,55.355,12.31), (55.205,12.48,55.355,12.63), (4.255,12.665,4.405,12.815), (5.325,12.68,5.475,12.83), (15.76,12.68,15.91,12.83), (30.925,12.68,31.075,12.83), (43.11,12.68,43.26,12.83), (46.69,13.23,46.84,13.38), (54.615,13.23,54.765,13.38), (36.11,14.96,36.26,15.11), (25.425,15.27,25.575,15.42), (12.845,15.55,12.995,15.7), (1.4,15.83,1.55,15.98)])
A(biascoarsesel8to1, met2, 47.58, 11.075, 0.26, 0.32, 4, 1, 1.945, 0)
A(biascoarsesel8to1, met2, 48.06, 11.85, 0.27, 0.54, 4, 1, 1.945, 0)
R(biascoarsesel8to1, met2, [(23.1,-0.38,23.42,-0.32), (22.15,-0.32,23.42,-0.18), (22.15,-0.18,22.47,-0.06), (23.1,-0.18,23.42,-0.12), (0.02,2.935,0.34,2.995), (0.56,2.935,0.88,2.995), (11.12,2.935,11.44,2.995), (0.02,2.995,11.44,3.135), (0.02,3.135,0.34,3.195), (0.56,3.135,0.88,3.195), (11.12,3.135,11.44,3.195), (0.02,4.265,0.34,4.325), (0.56,4.265,0.88,4.325), (11.12,4.265,11.44,4.325), (0.02,4.325,11.44,4.465), (0.02,4.465,0.34,4.525), (0.56,4.465,0.88,4.525), (11.12,4.465,11.44,4.525), (55.06,5.315,55.38,5.375), (-0.715,5.375,55.38,5.515), (55.06,5.515,55.38,5.575), (0.02,6.36,0.34,6.42), (0.56,6.36,0.88,6.42), (11.12,6.36,11.44,6.42), (0.02,6.42,11.44,6.56), (0.02,6.56,0.34,6.62), (0.56,6.56,0.88,6.62), (11.12,6.56,11.44,6.62), (55.09,6.95,55.35,7.27), (3.18,7.005,3.5,7.22), (-0.71,7.22,3.5,7.36), (55.15,7.27,55.29,12.04), (12.17,7.285,12.49,7.5), (-0.72,7.5,12.49,7.64), (24.12,7.565,24.44,7.78), (-0.715,7.78,24.44,7.92), (34.535,7.94,34.855,8.06), (-0.725,8.06,34.855,8.2), (-0.725,8.375,53.675,8.515), (53.535,8.515,53.675,11.075), (-0.725,8.655,51.73,8.795), (51.59,8.795,51.73,11.075), (-0.73,8.935,49.785,9.075), (49.645,9.075,49.785,11.075), (-0.73,9.215,47.84,9.355), (47.7,9.355,47.84,11.075), (5.93,9.675,6.07,9.68), (5.87,9.68,6.13,10.18), (47.005,9.935,47.265,10.255), (5.93,10.18,6.07,10.835), (47.125,10.255,47.265,10.71), (55.85,10.435,57.26,10.575), (55.85,10.575,56.17,10.695), (56.94,10.575,57.26,10.695), (11.435,10.59,11.755,10.71), (22.975,10.65,23.295,10.71), (24.575,10.65,24.895,10.71), (33.325,10.65,33.645,10.71), (34.99,10.65,35.31,10.71), (45.445,10.65,45.765,10.71), (11.435,10.71,47.265,10.85), (5.87,10.835,6.13,11.155), (11.615,10.85,11.755,11.45), (18.22,10.85,18.54,10.97), (22.975,10.85,23.295,10.91), (24.575,10.85,24.895,10.91), (33.325,10.85,33.645,10.91), (34.99,10.85,35.31,10.91), (45.445,10.85,45.765,10.91), (-0.78,11.45,11.755,11.59), (50.005,11.66,50.145,11.85), (15.47,11.725,15.79,11.785), (30.635,11.725,30.955,11.785), (42.82,11.725,43.14,11.785), (53.895,11.755,54.035,11.85), (15.47,11.785,17.76,11.925), (30.635,11.785,32.925,11.925), (42.82,11.785,45.11,11.925), (55.605,11.785,56.605,12.045), (15.47,11.925,15.79,11.985), (16.76,11.925,17.76,12.045), (30.635,11.925,30.955,11.985), (31.925,11.925,32.925,12.045), (42.82,11.925,43.14,11.985), (44.11,11.925,45.11,12.045), (55.15,12.04,55.41,12.75), (48.06,12.39,48.2,13.735), (50.005,12.39,50.145,14.015), (51.95,12.39,52.09,14.295), (53.895,12.39,54.035,14.575), (4.17,12.61,4.49,12.64), (5.125,12.625,5.675,12.64), (15.56,12.625,16.11,12.64), (30.725,12.625,31.275,12.64), (42.91,12.625,43.46,12.64), (-0.745,12.64,46.51,12.87), (5.125,12.87,5.675,12.885), (15.56,12.87,16.11,12.885), (30.725,12.87,31.275,12.885), (42.91,12.87,43.46,12.885), (16.76,13.125,17.76,13.155), (31.925,13.125,32.925,13.155), (44.11,13.125,45.11,13.155), (55.605,13.125,56.605,13.155), (6.325,13.14,7.325,13.155), (-0.72,13.155,46.945,13.385), (54.525,13.155,56.605,13.385), (6.325,13.385,7.325,13.4), (46.585,13.385,46.945,13.435), (54.525,13.385,54.855,13.435), (-0.71,13.735,48.2,13.875), (-0.71,14.015,50.145,14.155), (-0.71,14.295,52.09,14.435), (-0.705,14.575,54.035,14.715), (-0.71,14.905,36.345,15.045), (36.025,15.045,36.345,15.165), (-0.71,15.215,25.66,15.355), (25.34,15.355,25.66,15.475), (-0.715,15.495,13.08,15.635), (12.76,15.635,13.08,15.755), (-0.705,15.775,1.635,15.915), (1.315,15.915,1.635,16.035)])
A(biascoarsesel8to1, nsdm, 46.745, 11, 1.25, 1.78, 4, 1, 1.945, 0)
R(biascoarsesel8to1, nsdm, [(24.48,-0.65,33.49,10.34), (12.53,-0.455,22.58,10.305), (46.85,-0.43,56.9,10.33), (34.895,-0.42,44.925,10.34), (0.47,1.955,11.53,10.305), (16.265,10.305,17.92,10.525), (31.8,10.34,33.05,13.43), (43.635,10.34,44.925,10.37), (43.635,10.37,45.235,10.75), (16.265,10.525,17.885,10.75), (5.375,10.745,6.625,11.675), (16.635,10.75,17.885,13.43), (43.985,10.75,45.235,13.43), (55.48,11.65,56.73,13.43), (4.06,12.075,4.6,13.005), (6.2,12.075,7.45,13.005), (14.805,12.075,15.345,13.005), (29.97,12.075,30.51,13.005), (42.155,12.075,42.695,13.005)])
R(biascoarsesel8to1, psdm, [(22.99,-0.455,23.53,10.305), (45.335,-0.42,45.875,10.34), (-0.09,1.955,0.45,10.305), (56.83,11.65,57.37,13.43), (17.985,11.69,18.525,13.43), (33.15,11.69,33.69,13.43), (45.335,11.69,45.875,13.43), (5,12.075,5.8,13.005), (15.435,12.075,16.235,13.005), (30.6,12.075,31.4,13.005), (42.785,12.075,43.585,13.005), (7.61,12.33,8.03,12.75)])
A(biascoarsesel8to1, npc, 48.01, 11.37, 0.37, 0.37, 4, 2, 1.945, 0.67)
R(biascoarsesel8to1, npc, [(24.095,-0.28,24.465,9.97), (33.505,-0.28,33.875,9.97), (12.145,-0.085,12.515,9.935), (22.595,-0.085,22.965,9.935), (46.465,-0.06,46.835,9.96), (56.915,-0.06,57.285,9.96), (34.51,-0.05,34.88,9.97), (44.94,-0.05,45.31,9.97), (0.84,1.57,11.16,1.94), (0.84,10.32,11.16,10.69), (16.25,10.74,16.62,11.11), (31.415,10.74,31.785,11.11), (43.6,10.74,43.97,11.11), (4.99,11.025,5.36,11.395), (16.25,11.41,16.62,12.39), (31.415,11.41,31.785,12.39), (43.6,11.41,43.97,12.39), (55.095,12.02,55.465,12.39), (4.615,12.355,4.985,12.725), (5.815,12.355,6.185,12.725), (16.25,12.69,16.62,13.06), (31.415,12.69,31.785,13.06), (43.6,12.69,43.97,13.06), (55.095,12.69,55.465,13.06)])
R(biascoarsesel8to1, lvtn, [(24.425,-0.44,33.545,10.13), (12.475,-0.245,22.635,10.095), (46.795,-0.22,56.955,10.12), (34.84,-0.21,44.98,10.13), (0.68,1.9,11.32,10.36), (5.32,10.955,6.68,11.465)])
biascoarsesel8to1.add(gdstk.Label('CoarseOneHotLowBiasEn', (0.475,5.435), layer=69, texttype=5))
biascoarsesel8to1.add(gdstk.Label('CoarseBias', (6.305,13.295), layer=69, texttype=5))
biascoarsesel8to1.add(gdstk.Label('VddA18', (21.1,12.755), layer=69, texttype=5))
biascoarsesel8to1.add(gdstk.Label('GndA', (20.34,10.835), layer=69, texttype=5))
biascoarsesel8to1.add(gdstk.Label('BiasCB[6]', (-0.455,9.005), layer=69, texttype=5))
biascoarsesel8to1.add(gdstk.Label('BiasCB[0]', (-0.43,7.285), layer=69, texttype=5))
biascoarsesel8to1.add(gdstk.Label('CoarseOneHot[3]', (0.13,14.975), layer=69, texttype=5))
biascoarsesel8to1.add(gdstk.Label('BiasCB[1]', (-0.47,7.57), layer=69, texttype=5))
biascoarsesel8to1.add(gdstk.Label('BiasCB[4]', (-0.455,8.45), layer=69, texttype=5))
biascoarsesel8to1.add(gdstk.Label('BiasCB[7]', (-0.44,9.29), layer=69, texttype=5))
biascoarsesel8to1.add(gdstk.Label('BiasCB[5]', (-0.465,8.735), layer=69, texttype=5))
biascoarsesel8to1.add(gdstk.Label('BiasCB[3]', (-0.44,8.135), layer=69, texttype=5))
biascoarsesel8to1.add(gdstk.Label('BiasCB[2]', (-0.465,7.845), layer=69, texttype=5))
biascoarsesel8to1.add(gdstk.Label('CoarseOneHot[0]', (0.095,15.85), layer=69, texttype=5))
biascoarsesel8to1.add(gdstk.Label('CoarseOneHot[1]', (0.14,15.56), layer=69, texttype=5))
biascoarsesel8to1.add(gdstk.Label('CoarseOneHot[2]', (0.14,15.275), layer=69, texttype=5))
biascoarsesel8to1.add(gdstk.Label('CoarseOneHot[4]', (0.165,14.65), layer=69, texttype=5))
biascoarsesel8to1.add(gdstk.Label('CoarseOneHot[5]', (0.205,14.37), layer=69, texttype=5))
biascoarsesel8to1.add(gdstk.Label('CoarseOneHot[6]', (0.19,14.1), layer=69, texttype=5))
biascoarsesel8to1.add(gdstk.Label('CoarseOneHot[7]', (0.21,13.81), layer=69, texttype=5))

lib.write_gds('BiasCoarseSel8to1.gds')
